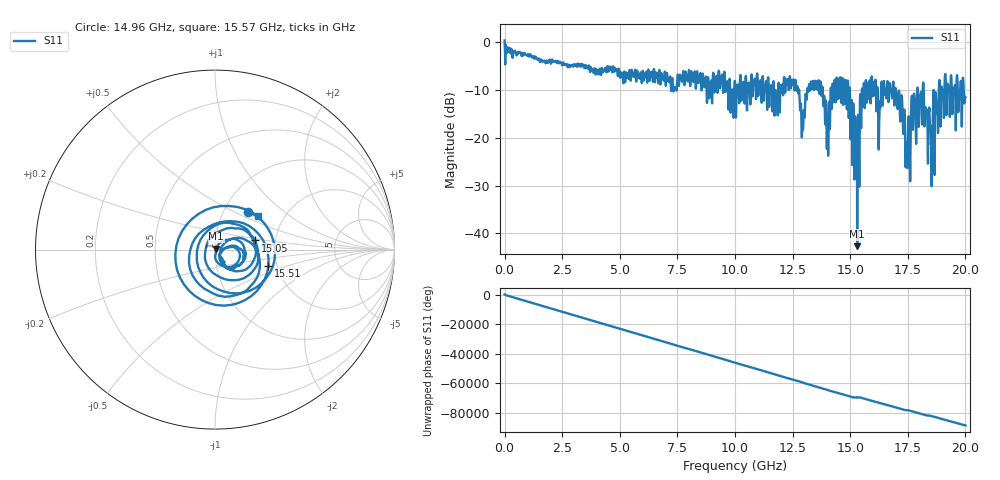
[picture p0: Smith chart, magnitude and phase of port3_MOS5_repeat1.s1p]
! MS46122B
! 2250307/22442219
! 7/27/2025 9:25:57 AM
! C:\USERS\SPARKY\DOCUMENTS\VNA_DATA\JULY27_2025\3K\PORT3_MOS5_REPEAT1.S1P
! CHANNEL.1
! TR.MEASUREMENT
! RAW.DATA
# GHZ S RI R 50.0
! FREQ.GHZ  S11RE  S11IM
!; PortSelection: Port_1
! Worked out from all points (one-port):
!   10001 points, 1 MHz to 20 GHz, reference 50 ohm
!   lowest |S11| = -42.7 dB at 15.3 GHz (marker M1), VSWR 1.01, Z = 50.6 + j0.448 ohm
!   |S11| at or under -10 dB: 14.99 GHz to 15.51 GHz (520.6 MHz wide, 3.41 % of centre); 16.98 GHz to 17.91 GHz (928.1 MHz wide, 5.32 % of centre); 18.19 GHz to 18.62 GHz (429.8 MHz wide, 2.34 % of centre) (the widest 3 of 88)
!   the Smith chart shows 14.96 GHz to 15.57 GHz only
!   S11 on the Smith chart (normalised r, x): 14.96 GHz: 1.30, +0.59; 15.05 GHz: 1.57, +0.17; 15.51 GHz: 1.80, -0.36; 15.57 GHz: 1.48, +0.61
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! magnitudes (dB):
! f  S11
! 1 MHz  0.4
! 2.501 GHz  -4.8
! 5.001 GHz  -7.3
! 7.501 GHz  -7.2
! 9.369 GHz  -8.5
! 10 GHz  -8.2
! 12.5 GHz  -8.8
! 12.93 GHz  -17.4
! 13.38 GHz  -8.1
! 13.71 GHz  -8.2
! 14.03 GHz  -17.9
! 14.32 GHz  -7.9
! 14.96 GHz  -11.1
! 15 GHz  -13.1
! 15.05 GHz  -12.7
! 15.3 GHz  -42.7
! 15.51 GHz  -10.1
! 15.57 GHz  -10.4
! 16.01 GHz  -8.3
! 16.23 GHz  -20.7
! 16.79 GHz  -10.4
! 17.18 GHz  -16.0
! 17.5 GHz  -21.0
! 17.73 GHz  -15.3
! 18.1 GHz  -12.9
! 18.46 GHz  -17.3
! 19.05 GHz  -11.9
! 20 GHz  -11.5
